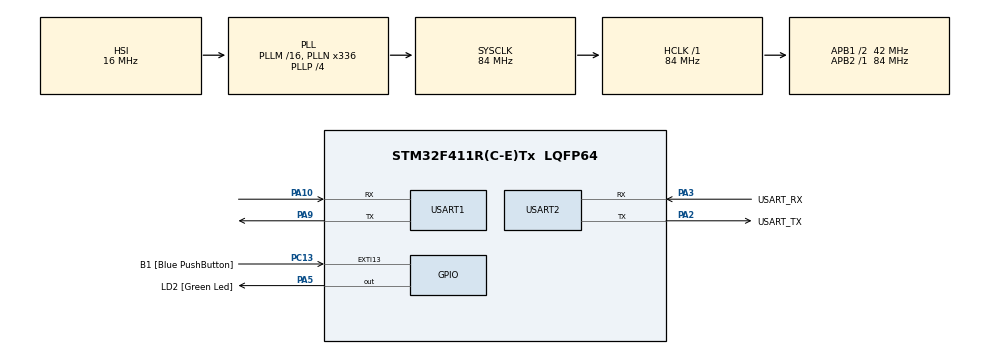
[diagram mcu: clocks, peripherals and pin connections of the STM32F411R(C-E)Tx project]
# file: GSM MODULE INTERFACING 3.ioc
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Mcu.Family=STM32F4
Mcu.Name=STM32F411R(C-E)Tx
Mcu.Package=LQFP64
NVIC.PriorityGroup=NVIC_PRIORITYGROUP_0
PA10.Mode=Asynchronous
PA10.Signal=USART1_RX
PA13.GPIO_Label=TMS
PA13.Mode=Serial_Wire
PA13.Signal=SYS_JTMS-SWDIO
PA14.GPIO_Label=TCK
PA14.Mode=Serial_Wire
PA14.Signal=SYS_JTCK-SWCLK
PA2.GPIO_Label=USART_TX
PA2.Mode=Asynchronous
PA2.Signal=USART2_TX
PA3.GPIO_Label=USART_RX
PA3.Mode=Asynchronous
PA3.Signal=USART2_RX
PA5.GPIO_Label=LD2 [Green Led]
PA5.Signal=GPIO_Output
PA9.Mode=Asynchronous
PA9.Signal=USART1_TX
PB3.GPIO_Label=SWO
PB3.Signal=SYS_JTDO-SWO
PC13-ANTI_TAMP.GPIO_Label=B1 [Blue PushButton]
PC13-ANTI_TAMP.GPIO_ModeDefaultEXTI=GPIO_MODE_IT_FALLING
PC13-ANTI_TAMP.Signal=GPXTI13
PC14-OSC32_IN.Mode=LSE-External-Oscillator
PC14-OSC32_IN.Signal=RCC_OSC32_IN
PC15-OSC32_OUT.Mode=LSE-External-Oscillator
PC15-OSC32_OUT.Signal=RCC_OSC32_OUT
PH0\ -\ OSC_IN.Mode=HSE-External-Clock-Source
PH0\ -\ OSC_IN.Signal=RCC_OSC_IN
PH1\ -\ OSC_OUT.Mode=HSE-External-Clock-Source
PH1\ -\ OSC_OUT.Signal=RCC_OSC_OUT
ProjectManager.HeapSize=0x200
ProjectManager.StackSize=0x400
ProjectManager.TargetToolchain=STM32CubeIDE
RCC.48MHZClocksFreq_Value=84000000
RCC.AHBFreq_Value=84000000
RCC.APB1CLKDivider=RCC_HCLK_DIV2
RCC.APB1Freq_Value=42000000
RCC.APB1TimFreq_Value=84000000
RCC.APB2Freq_Value=84000000
RCC.APB2TimFreq_Value=84000000
RCC.CortexFreq_Value=84000000
RCC.FLatency-AdvancedSettings=FLASH_LATENCY_2
RCC.HCLKFreq_Value=84000000
RCC.HSE_VALUE=8000000
RCC.HSI_VALUE=16000000
RCC.PLLN=336
RCC.PLLP=RCC_PLLP_DIV4
RCC.SYSCLKFreq_VALUE=84000000
RCC.SYSCLKSource=RCC_SYSCLKSOURCE_PLLCLK
RCC.VCOOutputFreq_Value=336000000
USART1.VirtualMode=VM_ASYNC
USART2.VirtualMode=VM_ASYNC
board=NUCLEO-F411RE

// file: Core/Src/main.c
/* USER CODE BEGIN Header */
/**
  ******************************************************************************
  * @file           : main.c
  * @brief          : Main program body
  ******************************************************************************
  * @attention
  *
  * Copyright (c) 2023 STMicroelectronics.
  * All rights reserved.
  *
  * This software is licensed under terms that can be found in the LICENSE file
  * in the root directory of this software component.
  * If no LICENSE file comes with this software, it is provided AS-IS.
  *
  ******************************************************************************
  */
/* USER CODE END Header */
#include "main.h"
uint8_t buffer[100];
uint8_t buffer1[100];
uint8_t buffer2[100];
uint8_t buffer3[100];
uint8_t buffer4[100];

UART_HandleTypeDef huart1;
UART_HandleTypeDef huart2;

void SystemClock_Config(void);
static void MX_GPIO_Init(void);
static void MX_USART2_UART_Init(void);
static void MX_USART1_UART_Init(void);

int main(void)
{

  /* MCU Configuration--------------------------------------------------------*/

  /* Reset of all peripherals, Initializes the Flash interface and the Systick. */
  HAL_Init();

  /* Configure the system clock */
  SystemClock_Config();

  /* Initialize all configured peripherals */
  MX_GPIO_Init();
  MX_USART2_UART_Init();
  MX_USART1_UART_Init();

  /* Infinite loop */
  /* USER CODE BEGIN WHILE */

  	    HAL_UART_Transmit(&huart1, (uint8_t *)"AT\r\n", sizeof("AT\r\n"), 100);
  	    HAL_UART_Receive(&huart1, (uint8_t *)buffer, sizeof(buffer), 100);
  	    HAL_Delay(1000);
  	    HAL_UART_Transmit(&huart2, buffer, sizeof(buffer), 100);

  	    HAL_UART_Transmit(&huart1, (uint8_t *)"AT+CMGF=1\r\n", sizeof("AT+CMGF=1\r\n"), 100);
  	    HAL_UART_Receive(&huart1, (uint8_t *)buffer1, sizeof(buffer1), 100);
  	    HAL_Delay(1000);
  	    HAL_UART_Transmit(&huart2, buffer1, sizeof(buffer1), 100);

  	    HAL_UART_Transmit(&huart1, (uint8_t *)"AT+CMGL=\"ALL\"\r\n", sizeof("AT+CMGL=\"ALL\"\r\n"), 100);
  	    HAL_UART_Receive(&huart1, (uint8_t *)buffer2, sizeof(buffer2), 100);
  	    HAL_Delay(1000);
  	    HAL_UART_Transmit(&huart2, buffer2, sizeof(buffer2), 100);

  	    HAL_UART_Transmit(&huart1, (uint8_t *)"AT+CSCS=\"GSM\"\r\n", sizeof("AT+CSCS=\"GSM\"\r\n"), 100);
  	    HAL_UART_Receive(&huart1, (uint8_t *)buffer3, sizeof(buffer3), 100);
  	    HAL_Delay(1000);
  	    HAL_UART_Transmit(&huart2, buffer3, sizeof(buffer3), 100);

  	    HAL_UART_Transmit(&huart1, (uint8_t *)"AT+CMGS=\"9440610275\"\r\n", sizeof("AT+CMGS=\"9440610275\"\r\n"), 100);
  	    HAL_UART_Receive(&huart1, (uint8_t *)buffer4, sizeof(buffer4), 100);
  	    HAL_Delay(1000);
  	    HAL_UART_Transmit(&huart2, buffer4, sizeof(buffer4), 100);
  while (1)
  {
    /* USER CODE END WHILE */

  }
}

void SystemClock_Config(void)
{
  RCC_OscInitTypeDef RCC_OscInitStruct = {0};
  RCC_ClkInitTypeDef RCC_ClkInitStruct = {0};

  /** Configure the main internal regulator output voltage
  */
  __HAL_RCC_PWR_CLK_ENABLE();
  __HAL_PWR_VOLTAGESCALING_CONFIG(PWR_REGULATOR_VOLTAGE_SCALE1);

  /** Initializes the RCC Oscillators according to the specified parameters
  * in the RCC_OscInitTypeDef structure.
  */
  RCC_OscInitStruct.OscillatorType = RCC_OSCILLATORTYPE_HSI;
  RCC_OscInitStruct.HSIState = RCC_HSI_ON;
  RCC_OscInitStruct.HSICalibrationValue = RCC_HSICALIBRATION_DEFAULT;
  RCC_OscInitStruct.PLL.PLLState = RCC_PLL_ON;
  RCC_OscInitStruct.PLL.PLLSource = RCC_PLLSOURCE_HSI;
  RCC_OscInitStruct.PLL.PLLM = 16;
  RCC_OscInitStruct.PLL.PLLN = 336;
  RCC_OscInitStruct.PLL.PLLP = RCC_PLLP_DIV4;
  RCC_OscInitStruct.PLL.PLLQ = 4;
  if (HAL_RCC_OscConfig(&RCC_OscInitStruct) != HAL_OK)
  {
    Error_Handler();
  }

  /** Initializes the CPU, AHB and APB buses clocks
  */
  RCC_ClkInitStruct.ClockType = RCC_CLOCKTYPE_HCLK|RCC_CLOCKTYPE_SYSCLK
                              |RCC_CLOCKTYPE_PCLK1|RCC_CLOCKTYPE_PCLK2;
  RCC_ClkInitStruct.SYSCLKSource = RCC_SYSCLKSOURCE_PLLCLK;
  RCC_ClkInitStruct.AHBCLKDivider = RCC_SYSCLK_DIV1;
  RCC_ClkInitStruct.APB1CLKDivider = RCC_HCLK_DIV2;
  RCC_ClkInitStruct.APB2CLKDivider = RCC_HCLK_DIV1;

  if (HAL_RCC_ClockConfig(&RCC_ClkInitStruct, FLASH_LATENCY_2) != HAL_OK)
  {
    Error_Handler();
  }
}

static void MX_USART1_UART_Init(void)
{

  huart1.Instance = USART1;
  huart1.Init.BaudRate = 115200;
  huart1.Init.WordLength = UART_WORDLENGTH_8B;
  huart1.Init.StopBits = UART_STOPBITS_1;
  huart1.Init.Parity = UART_PARITY_NONE;
  huart1.Init.Mode = UART_MODE_TX_RX;
  huart1.Init.HwFlowCtl = UART_HWCONTROL_NONE;
  huart1.Init.OverSampling = UART_OVERSAMPLING_16;
  if (HAL_UART_Init(&huart1) != HAL_OK)
  {
    Error_Handler();
  }

}

static void MX_USART2_UART_Init(void)
{

  huart2.Instance = USART2;
  huart2.Init.BaudRate = 115200;
  huart2.Init.WordLength = UART_WORDLENGTH_8B;
  huart2.Init.StopBits = UART_STOPBITS_1;
  huart2.Init.Parity = UART_PARITY_NONE;
  huart2.Init.Mode = UART_MODE_TX_RX;
  huart2.Init.HwFlowCtl = UART_HWCONTROL_NONE;
  huart2.Init.OverSampling = UART_OVERSAMPLING_16;
  if (HAL_UART_Init(&huart2) != HAL_OK)
  {
    Error_Handler();
  }

}

static void MX_GPIO_Init(void)
{
  GPIO_InitTypeDef GPIO_InitStruct = {0};

  /* GPIO Ports Clock Enable */
  __HAL_RCC_GPIOC_CLK_ENABLE();
  __HAL_RCC_GPIOH_CLK_ENABLE();
  __HAL_RCC_GPIOA_CLK_ENABLE();
  __HAL_RCC_GPIOB_CLK_ENABLE();

  /*Configure GPIO pin Output Level */
  HAL_GPIO_WritePin(LD2_GPIO_Port, LD2_Pin, GPIO_PIN_RESET);

  /*Configure GPIO pin : B1_Pin */
  GPIO_InitStruct.Pin = B1_Pin;
  GPIO_InitStruct.Mode = GPIO_MODE_IT_FALLING;
  GPIO_InitStruct.Pull = GPIO_NOPULL;
  HAL_GPIO_Init(B1_GPIO_Port, &GPIO_InitStruct);

  /*Configure GPIO pin : LD2_Pin */
  GPIO_InitStruct.Pin = LD2_Pin;
  GPIO_InitStruct.Mode = GPIO_MODE_OUTPUT_PP;
  GPIO_InitStruct.Pull = GPIO_NOPULL;
  GPIO_InitStruct.Speed = GPIO_SPEED_FREQ_LOW;
  HAL_GPIO_Init(LD2_GPIO_Port, &GPIO_InitStruct);

}

void Error_Handler(void)
{
  __disable_irq();
  while (1)
  {
  }
}
